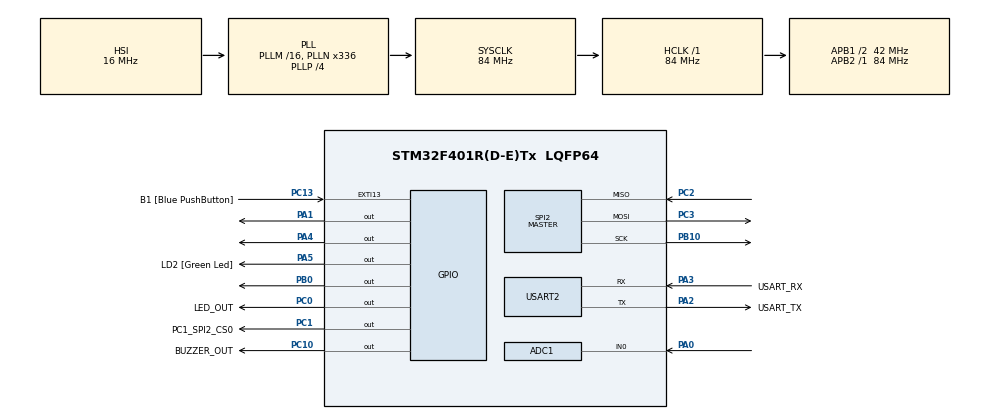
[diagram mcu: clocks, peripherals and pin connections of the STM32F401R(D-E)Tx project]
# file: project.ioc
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ADC1.Channel-1\#ChannelRegularConversion=ADC_CHANNEL_0
ADC1.NbrOfConversionFlag=1
ADC1.Rank-1\#ChannelRegularConversion=1
ADC1.SamplingTime-1\#ChannelRegularConversion=ADC_SAMPLETIME_3CYCLES
ADC1.master=1
Mcu.Family=STM32F4
Mcu.Name=STM32F401R(D-E)Tx
Mcu.Package=LQFP64
NVIC.PriorityGroup=NVIC_PRIORITYGROUP_0
PA0-WKUP.Signal=ADCx_IN0
PA1.Signal=GPIO_Output
PA13.GPIO_Label=TMS
PA13.Mode=Serial_Wire
PA13.Signal=SYS_JTMS-SWDIO
PA14.GPIO_Label=TCK
PA14.Mode=Serial_Wire
PA14.Signal=SYS_JTCK-SWCLK
PA2.GPIO_Label=USART_TX
PA2.GPIO_Mode=GPIO_MODE_AF_PP
PA2.GPIO_PuPd=GPIO_NOPULL
PA2.GPIO_Speed=GPIO_SPEED_FREQ_LOW
PA2.Mode=Asynchronous
PA2.Signal=USART2_TX
PA3.GPIO_Label=USART_RX
PA3.GPIO_Mode=GPIO_MODE_AF_PP
PA3.GPIO_PuPd=GPIO_NOPULL
PA3.GPIO_Speed=GPIO_SPEED_FREQ_LOW
PA3.Mode=Asynchronous
PA3.Signal=USART2_RX
PA4.Signal=GPIO_Output
PA5.GPIO_Label=LD2 [Green Led]
PA5.GPIO_Mode=GPIO_MODE_OUTPUT_PP
PA5.GPIO_PuPd=GPIO_NOPULL
PA5.GPIO_Speed=GPIO_SPEED_FREQ_LOW
PA5.Signal=GPIO_Output
PB0.Signal=GPIO_Output
PB10.Mode=Full_Duplex_Master
PB10.Signal=SPI2_SCK
PB3.GPIO_Label=SWO
PB3.Signal=SYS_JTDO-SWO
PC0.GPIO_Label=LED_OUT
PC0.GPIO_Speed=GPIO_SPEED_FREQ_LOW
PC0.Signal=GPIO_Output
PC1.GPIO_Label=PC1_SPI2_CS0
PC1.Signal=GPIO_Output
PC10.GPIO_Label=BUZZER_OUT
PC10.Signal=GPIO_Output
PC13-ANTI_TAMP.GPIO_Label=B1 [Blue PushButton]
PC13-ANTI_TAMP.GPIO_ModeDefaultEXTI=GPIO_MODE_IT_FALLING
PC13-ANTI_TAMP.GPIO_PuPd=GPIO_NOPULL
PC13-ANTI_TAMP.Signal=GPXTI13
PC14-OSC32_IN.Mode=LSE-External-Oscillator
PC14-OSC32_IN.Signal=RCC_OSC32_IN
PC15-OSC32_OUT.Mode=LSE-External-Oscillator
PC15-OSC32_OUT.Signal=RCC_OSC32_OUT
PC2.Mode=Full_Duplex_Master
PC2.Signal=SPI2_MISO
PC3.Mode=Full_Duplex_Master
PC3.Signal=SPI2_MOSI
PH0\ -\ OSC_IN.Mode=HSE-External-Clock-Source
PH0\ -\ OSC_IN.Signal=RCC_OSC_IN
PH1\ -\ OSC_OUT.Mode=HSE-External-Clock-Source
PH1\ -\ OSC_OUT.Signal=RCC_OSC_OUT
ProjectManager.HeapSize=0x200
ProjectManager.StackSize=0x400
ProjectManager.TargetToolchain=STM32CubeIDE
RCC.48MHZClocksFreq_Value=48000000
RCC.AHBFreq_Value=84000000
RCC.APB1CLKDivider=RCC_HCLK_DIV2
RCC.APB1Freq_Value=42000000
RCC.APB1TimFreq_Value=84000000
RCC.APB2Freq_Value=84000000
RCC.APB2TimFreq_Value=84000000
RCC.CortexFreq_Value=84000000
RCC.HCLKFreq_Value=84000000
RCC.HSE_VALUE=8000000
RCC.HSI_VALUE=16000000
RCC.PLLN=336
RCC.PLLP=RCC_PLLP_DIV4
RCC.PLLQ=7
RCC.SYSCLKFreq_VALUE=84000000
RCC.SYSCLKSource=RCC_SYSCLKSOURCE_PLLCLK
RCC.VCOOutputFreq_Value=336000000
SH.ADCx_IN0.0=ADC1_IN0,IN0
SPI2.Direction=SPI_DIRECTION_2LINES
SPI2.Mode=SPI_MODE_MASTER
SPI2.VirtualType=VM_MASTER
USART2.VirtualMode=VM_ASYNC
board=NUCLEO-F401RE

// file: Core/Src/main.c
/* USER CODE BEGIN Header */
/**
  ******************************************************************************
  * @file           : main.c
  * @brief          : Main program body
  ******************************************************************************
  * @attention
  *
  * Copyright (c) 2023 STMicroelectronics.
  * All rights reserved.
  *
  * This software is licensed under terms that can be found in the LICENSE file
  * in the root directory of this software component.
  * If no LICENSE file comes with this software, it is provided AS-IS.
  *
  ******************************************************************************
  */
/* USER CODE END Header */
#include "main.h"
#include "adc.h"
#include "gpio.h"
#include "spi.h"
#include "usart.h"

/* USER CODE BEGIN Includes */
#include <stdio.h>
/* USER CODE END Includes */

/* USER CODE BEGIN PV */

int raw;
/* USER CODE END PV */

void SystemClock_Config(void);

int main(void) {

    /* MCU Configuration--------------------------------------------------------*/

    /* Reset of all peripherals, Initializes the Flash interface and the Systick. */
    HAL_Init();

    /* Configure the system clock */
    SystemClock_Config();

    /* Initialize all configured peripherals */
    MX_GPIO_Init();
    MX_USART2_UART_Init();
    MX_SPI2_Init();
    MX_ADC1_Init();
    /* USER CODE BEGIN 2 */

    Point UPPER_LEFT_ORIGIN = {.x = 0, .y = 0, .is_screen_coord = true};
    Point LOWER_RIGHT_ORIGIN = {.x = SCREEN_W, .y = SCREEN_H, .is_screen_coord = true};
    Point LOWER_LEFT_ORIGIN = {.x = 0, .y = SCREEN_H, .is_screen_coord = true};
    Point HALF_LEFT_ORIGIN = {.x = 0, .y = SCREEN_H / 2, .is_screen_coord = true};
    GraphArea FULL_SCREEN_AREA = {
            .upper_left = {.x = 0, .y = 0, .is_screen_coord = true},
            .width = SCREEN_W,
            .height = SCREEN_H,
            .graph_origin_pos = LOWER_LEFT_ORIGIN};
    GraphArea LOWER_HALF_SCREEN_AREA = {
            .upper_left = {.x = SCREEN_H / 2, .y = 0, .is_screen_coord = true},
            .width = SCREEN_W,
            .height = SCREEN_H / 2,
            .graph_origin_pos = LOWER_LEFT_ORIGIN};
    GraphArea UPPER_HALF_SCREEN_AREA = {
            .upper_left = {.x = 0, .y = 0, .is_screen_coord = true},
            .width = SCREEN_W,
            .height = SCREEN_H / 2,
            .graph_origin_pos = HALF_LEFT_ORIGIN};

    // init and test the display, the display is in landscape mode
    ST7735_Init(1);
    fillScreen(BLACK);
    //    testAll();
    HAL_Delay(1000);
    DataArray data_arr;
    makeData(&data_arr);
    HAL_GPIO_WritePin(LED_OUT_GPIO_Port, LED_OUT_Pin, true);
    /* USER CODE END 2 */

    /* Infinite loop */
    while (1) {
        /* USER CODE BEGIN 3 */
//        testAll();
        fillScreen(BLACK);
        GPIO_PinState state;
        state = HAL_GPIO_ReadPin(B1_GPIO_Port, B1_Pin);
        HAL_GPIO_WritePin(BUZZER_OUT_GPIO_Port, BUZZER_OUT_Pin, state);
        HAL_GPIO_WritePin(LED_OUT_GPIO_Port, LED_OUT_Pin, !state);
        HAL_ADC_Start(&hadc1);
        HAL_ADC_PollForConversion(&hadc1, HAL_MAX_DELAY);
        raw = HAL_ADC_GetValue(&hadc1);
        writeInt(raw, UPPER_LEFT_ORIGIN, FULL_SCREEN_AREA, WHITE, BLACK, MEDIUM_FONT);
        //        addData(raw, &data_arr);
//        for (int i = 0; i < data_arr.data_pointer; ++i) {
//            ST7735_DrawPixel(i, normalizeY(data_arr.data_raw[i], DATA_UPPER_LIMIT, DATA_LOWER_LIMIT), WHITE);
//        }
        HAL_Delay(SAMPLING_INTERVAL_MS);
        fillScreen(BLACK);
    }
    /* USER CODE END 3 */
}

void SystemClock_Config(void) {
    RCC_OscInitTypeDef RCC_OscInitStruct = {0};
    RCC_ClkInitTypeDef RCC_ClkInitStruct = {0};

    /** Configure the main internal regulator output voltage
  */
    __HAL_RCC_PWR_CLK_ENABLE();
    __HAL_PWR_VOLTAGESCALING_CONFIG(PWR_REGULATOR_VOLTAGE_SCALE2);

    /** Initializes the RCC Oscillators according to the specified parameters
  * in the RCC_OscInitTypeDef structure.
  */
    RCC_OscInitStruct.OscillatorType = RCC_OSCILLATORTYPE_HSI;
    RCC_OscInitStruct.HSIState = RCC_HSI_ON;
    RCC_OscInitStruct.HSICalibrationValue = RCC_HSICALIBRATION_DEFAULT;
    RCC_OscInitStruct.PLL.PLLState = RCC_PLL_ON;
    RCC_OscInitStruct.PLL.PLLSource = RCC_PLLSOURCE_HSI;
    RCC_OscInitStruct.PLL.PLLM = 16;
    RCC_OscInitStruct.PLL.PLLN = 336;
    RCC_OscInitStruct.PLL.PLLP = RCC_PLLP_DIV4;
    RCC_OscInitStruct.PLL.PLLQ = 7;
    if (HAL_RCC_OscConfig(&RCC_OscInitStruct) != HAL_OK) {
        Error_Handler();
    }

    /** Initializes the CPU, AHB and APB buses clocks
  */
    RCC_ClkInitStruct.ClockType = RCC_CLOCKTYPE_HCLK | RCC_CLOCKTYPE_SYSCLK | RCC_CLOCKTYPE_PCLK1 | RCC_CLOCKTYPE_PCLK2;
    RCC_ClkInitStruct.SYSCLKSource = RCC_SYSCLKSOURCE_PLLCLK;
    RCC_ClkInitStruct.AHBCLKDivider = RCC_SYSCLK_DIV1;
    RCC_ClkInitStruct.APB1CLKDivider = RCC_HCLK_DIV2;
    RCC_ClkInitStruct.APB2CLKDivider = RCC_HCLK_DIV1;

    if (HAL_RCC_ClockConfig(&RCC_ClkInitStruct, FLASH_LATENCY_2) != HAL_OK) {
        Error_Handler();
    }
}

void Error_Handler(void) {
    __disable_irq();
    while (1) {
    }
}
